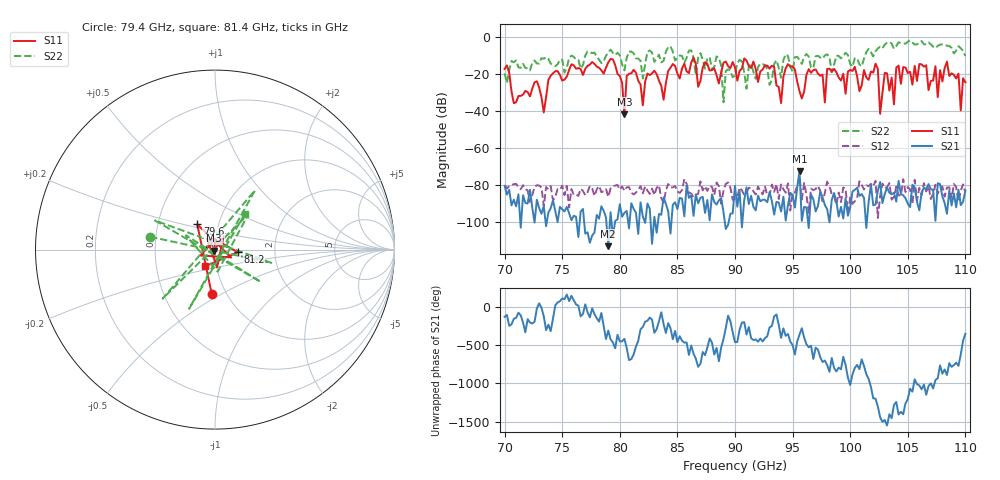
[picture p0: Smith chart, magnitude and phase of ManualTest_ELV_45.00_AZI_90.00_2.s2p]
! 11/25/2026 12:34:09 PM
! C:\ANRITSUVNA\TEMP\TEMP.S2P
! CHANNEL.1
! TR.MEASUREMENT
! RAW.DATA
# HZ S RI R 50.0
! FREQ.HZ  S11RE  S11IM  S21RE  S21IM  S12RE  S12IM  S22RE  S22IM
!; PortSelection: Port_12
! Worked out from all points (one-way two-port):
!   201 points, 70 GHz to 110 GHz, reference 50 ohm
!   highest |S21| = -72.67 dB at 95.6 GHz (marker M1); lowest = -113.2 dB at 79 GHz (marker M2)
!   lowest |S11| = -41.8 dB at 80.4 GHz (marker M3), VSWR 1.02, Z = 49.4 - j0.567 ohm
!   |S11| at or under -10 dB: start of sweep to end of sweep
!   |S22| runs from -35.4 to -2.0 dB; largest |S21 - S12| = 0.00027
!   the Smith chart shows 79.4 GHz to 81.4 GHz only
!   S11 on the Smith chart (normalised r, x): 79.4 GHz: 0.86, -0.45; 79.6 GHz: 0.79, +0.23; 81.2 GHz: 1.29, -0.04; 81.4 GHz: 0.88, -0.17
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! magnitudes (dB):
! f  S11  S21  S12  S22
! 70 GHz  -17.4  -80.6  -80.2  -19.8
! 73.4 GHz  -40.9  -91.6  -91.6  -11.9
! 74.2 GHz  -19.7  -88.4  -88.3  -15.2
! 76.8 GHz  -20.6  -93.1  -83.3  -15.3
! 79 GHz  -13.8  -113.2  -86.4  -8.3
! 79.4 GHz  -12.2  -108.1  -80.8  -8.7
! 79.6 GHz  -15.3  -99.5  -80.5  -9.8
! 80.4 GHz  -41.8  -95.2  -83.2  -18.2
! 81.2 GHz  -17.9  -93.0  -85.2  -8.9
! 81.4 GHz  -19.4  -95.1  -84.2  -11.6
! 82 GHz  -37.0  -97.2  -84.6  -22.5
! 83.4 GHz  -23.6  -95.8  -80.3  -9.7
! 88.6 GHz  -25.2  -88.4  -80.7  -11.5
! 89 GHz  -14.0  -94.8  -83.3  -35.4
! 90 GHz  -16.5  -80.5  -87.5  -20.8
! 95.6 GHz  -29.5  -72.7  -75.2  -12.6
! 96.8 GHz  -18.0  -87.8  -82.9  -16.9
! 97.8 GHz  -35.5  -90.9  -84.4  -10.1
! 98 GHz  -17.4  -93.2  -78.3  -9.4
! 103.4 GHz  -29.1  -84.3  -79.1  -2.9
! 109.6 GHz  -39.8  -91.0  -83.0  -6.2
! 110 GHz  -24.6  -83.0  -84.1  -10.4
